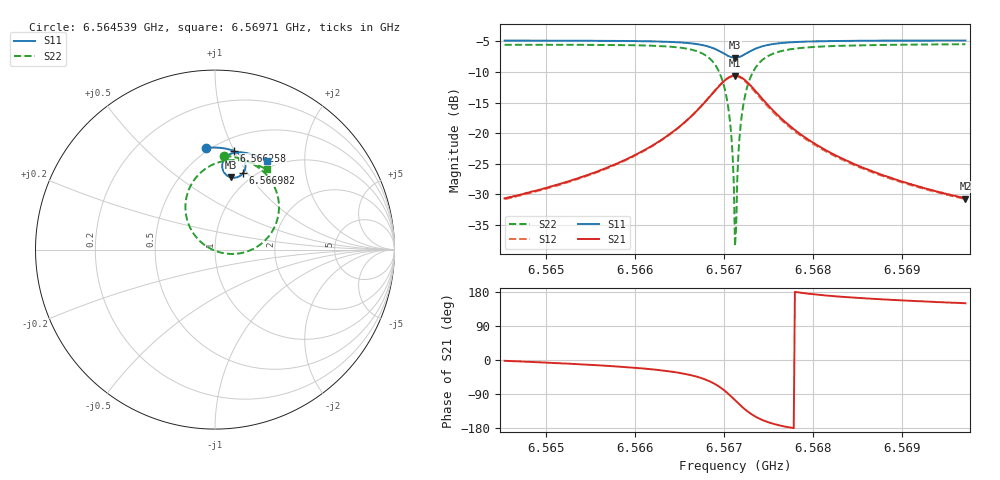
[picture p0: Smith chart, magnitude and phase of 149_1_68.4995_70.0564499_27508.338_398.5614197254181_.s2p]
#  HZ  S  RI  R  50.00
! Rohde & Schwarz Vector Network Analyzer
! Rohde-Schwarz,ZNB20-2Port,1311601062101988,3.16
! Created: UTC 3/20/2024, 5:10:20 PM
! freq[Hz]  re:S11  im:S11  re:S21  im:S21  re:S12  im:S12  re:S22  im:S22
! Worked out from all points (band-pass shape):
!   401 points, 6.564539 GHz to 6.56971 GHz, reference 50 ohm
!   highest |S21| = -10.61 dB at 6.567125 GHz (marker M1); lowest = -30.7 dB at 6.56971 GHz (marker M2)
!   |S21| within 3 dB of the highest: 6.566867 GHz to 6.567384 GHz (516.8 kHz wide, 0.00787 % of centre)
!   lowest |S11| = -7.7 dB at 6.567125 GHz (marker M3), VSWR 2.40, Z = 42 + j40.7 ohm
!   |S11| at or under -10 dB: nowhere
!   |S22| runs from -38.4 to -5.5 dB; largest |S21 - S12| = 0.014
!   S11 on the Smith chart (normalised r, x): 6.564539 GHz: 0.48, +0.80; 6.566258 GHz: 0.62, +1.00; 6.566982 GHz: 0.89, +0.95; 6.56971 GHz: 0.90, +1.32
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6.5645388e9  -0.0488 0.5669  0.0294 -0.00109  0.0289 -0.00157  0.0515 0.5231
6.5654051e9  0.0228 0.5674  0.043 -0.00879  0.0424 -0.00946  0.1356 0.508
6.5662584e9  0.1047 0.5498  0.0757 -0.0373  0.0746 -0.0383  0.2536 0.448
6.5662713e9  0.1059 0.5493  0.0765 -0.0382  0.0754 -0.0392  0.2562 0.4462
6.5665687e9  0.1414 0.5275  0.0994 -0.0747  0.0978 -0.0763  0.3184 0.3742
6.5667756e9  0.1656 0.4932  0.1127 -0.1345  0.1099 -0.1373  0.3556 0.2589
6.5668919e9  0.1699 0.4593  0.1014 -0.194  0.0964 -0.1979  0.34 0.1454
6.5669824e9  0.1566 0.4261  0.0615 -0.2505  0.0527 -0.2538  0.2671 0.0399
6.56706e9  0.1262 0.4039  -0.00774 -0.2857  -0.0199 -0.2851  0.1395 -0.0207
6.5670859e9  0.1124 0.4009  -0.0366 -0.2891  -0.0493 -0.2864  0.0871 -0.0243
6.5671117e9  0.0981 0.4007  -0.0664 -0.2868  -0.0792 -0.2817  0.0337 -0.017
6.5671246e9  0.0908 0.4018  -0.0813 -0.2834  -0.0938 -0.2772  0.0078 -0.00908
6.5671376e9  0.0839 0.4038  -0.0956 -0.2786  -0.1079 -0.2713  -0.0172 0.00124
6.5671505e9  0.0772 0.4065  -0.1095 -0.2723  -0.121 -0.2639  -0.0405 0.014
6.5671764e9  0.0651 0.414  -0.1346 -0.2563  -0.1444 -0.2461  -0.0823 0.0457
6.5672151e9  0.0512 0.4291  -0.1638 -0.2255  -0.1707 -0.2139  -0.1287 0.1037
6.5672539e9  0.0429 0.4462  -0.1821 -0.1913  -0.1862 -0.1794  -0.1553 0.1658
6.5673186e9  0.0406 0.4738  -0.1922 -0.1377  -0.1924 -0.1267  -0.1636 0.2606
6.5675642e9  0.0791 0.5294  -0.1472 -0.0285  -0.1439 -0.024  -0.0609 0.4448
6.5679909e9  0.1423 0.5423  -0.0839 0.00906  -0.082 0.0104  0.0793 0.4982
6.5688571e9  0.225 0.5228  -0.0408 0.0155  -0.0397 0.0159  0.2106 0.4815
6.5697105e9  0.2887 0.4922  -0.0253 0.0148  -0.0248 0.015  0.2877 0.4471
